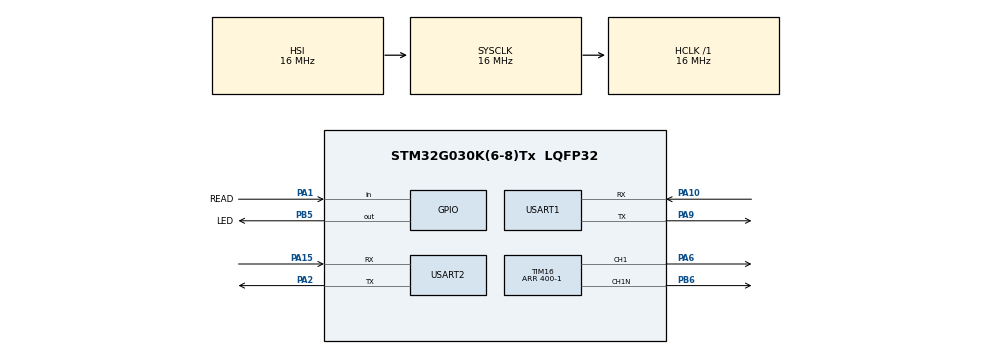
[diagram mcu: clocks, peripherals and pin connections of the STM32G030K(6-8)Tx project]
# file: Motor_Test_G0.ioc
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Dma.Request0=USART1_RX
Dma.Request1=USART2_RX
Dma.USART1_RX.0.Direction=DMA_PERIPH_TO_MEMORY
Dma.USART1_RX.0.EventEnable=DISABLE
Dma.USART1_RX.0.Instance=DMA1_Channel1
Dma.USART1_RX.0.MemDataAlignment=DMA_MDATAALIGN_BYTE
Dma.USART1_RX.0.MemInc=DMA_MINC_ENABLE
Dma.USART1_RX.0.Mode=DMA_CIRCULAR
Dma.USART1_RX.0.PeriphDataAlignment=DMA_PDATAALIGN_BYTE
Dma.USART1_RX.0.PeriphInc=DMA_PINC_DISABLE
Dma.USART1_RX.0.Polarity=HAL_DMAMUX_REQ_GEN_RISING
Dma.USART1_RX.0.Priority=DMA_PRIORITY_HIGH
Dma.USART1_RX.0.RequestNumber=1
Dma.USART1_RX.0.SignalID=NONE
Dma.USART1_RX.0.SyncEnable=DISABLE
Dma.USART1_RX.0.SyncPolarity=HAL_DMAMUX_SYNC_NO_EVENT
Dma.USART1_RX.0.SyncRequestNumber=1
Dma.USART1_RX.0.SyncSignalID=NONE
Dma.USART2_RX.1.Direction=DMA_PERIPH_TO_MEMORY
Dma.USART2_RX.1.EventEnable=DISABLE
Dma.USART2_RX.1.Instance=DMA1_Channel2
Dma.USART2_RX.1.MemDataAlignment=DMA_MDATAALIGN_BYTE
Dma.USART2_RX.1.MemInc=DMA_MINC_ENABLE
Dma.USART2_RX.1.Mode=DMA_CIRCULAR
Dma.USART2_RX.1.PeriphDataAlignment=DMA_PDATAALIGN_BYTE
Dma.USART2_RX.1.PeriphInc=DMA_PINC_DISABLE
Dma.USART2_RX.1.Polarity=HAL_DMAMUX_REQ_GEN_RISING
Dma.USART2_RX.1.Priority=DMA_PRIORITY_VERY_HIGH
Dma.USART2_RX.1.RequestNumber=1
Dma.USART2_RX.1.SignalID=NONE
Dma.USART2_RX.1.SyncEnable=DISABLE
Dma.USART2_RX.1.SyncPolarity=HAL_DMAMUX_SYNC_NO_EVENT
Dma.USART2_RX.1.SyncRequestNumber=1
Dma.USART2_RX.1.SyncSignalID=NONE
Mcu.Family=STM32G0
Mcu.Name=STM32G030K(6-8)Tx
Mcu.Package=LQFP32
NVIC.DMA1_Channel1_IRQn=true\:0\:0\:false\:false\:true\:false\:true\:true
NVIC.DMA1_Channel2_3_IRQn=true\:0\:0\:false\:false\:true\:false\:true\:true
NVIC.TIM3_IRQn=true\:0\:0\:false\:false\:true\:true\:true\:true
PA1.GPIO_Label=READ
PA1.Signal=GPIO_Input
PA10.Mode=Asynchronous
PA10.Signal=USART1_RX
PA15.Mode=Asynchronous
PA15.Signal=USART2_RX
PA2.Mode=Asynchronous
PA2.Signal=USART2_TX
PA6.Signal=S_TIM16_CH1
PA9.Mode=Asynchronous
PA9.Signal=USART1_TX
PB5.GPIO_Label=LED
PB5.Signal=GPIO_Output
PB6.Mode=PWM Generation1 CH1 CH1N
PB6.Signal=TIM16_CH1N
ProjectManager.HeapSize=0x200
ProjectManager.StackSize=0x400
ProjectManager.TargetToolchain=STM32CubeIDE
RCC.AHBFreq_Value=16000000
RCC.CortexFreq_Value=16000000
RCC.EXTERNAL_CLOCK_VALUE=12288000
RCC.HCLKFreq_Value=16000000
RCC.HSE_VALUE=8000000
RCC.HSI_VALUE=16000000
RCC.LSE_VALUE=32768
RCC.SYSCLKFreq_VALUE=16000000
RCC.VCOOutputFreq_Value=128000000
SH.S_TIM16_CH1.0=TIM16_CH1,PWM Generation1 CH1 CH1N
TIM16.Channel=TIM_CHANNEL_1
TIM16.Period=400-1
TIM3.Period=5000-1
TIM3.Prescaler=16000-1
USART1.VirtualMode-Asynchronous=VM_ASYNC
USART2.VirtualMode-Asynchronous=VM_ASYNC
VP_TIM16_VS_ClockSourceINT.Mode=Enable_Timer
VP_TIM3_VS_ClockSourceINT.Mode=Internal
board=custom

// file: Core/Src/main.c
/* USER CODE BEGIN Header */
/**
  ******************************************************************************
  * @file           : main.c
  * @brief          : Main program body
  ******************************************************************************
  * @attention
  *
  * Copyright (c) 2024 STMicroelectronics.
  * All rights reserved.
  *
  * This software is licensed under terms that can be found in the LICENSE file
  * in the root directory of this software component.
  * If no LICENSE file comes with this software, it is provided AS-IS.
  *
  ******************************************************************************
  */
/* USER CODE END Header */
#include "main.h"

TIM_HandleTypeDef htim3;
TIM_HandleTypeDef htim16;

UART_HandleTypeDef huart1;
UART_HandleTypeDef huart2;
DMA_HandleTypeDef hdma_usart1_rx;
DMA_HandleTypeDef hdma_usart2_rx;

/* USER CODE BEGIN PV */
float value = 199;
int output = 199;
int status = 1;
static uint8_t rxBuf[128];
static uint8_t rxBuf2[128];

uint8_t spdBuf[2] = {33, 33};
uint8_t spdBuf2[2] = {33, 33};

int16_t cur_speed = 33;
int16_t goal_speed = 0;
int16_t now;
//int a,b,c = 0;

int index = 0;
int indexRead = 0;
uint8_t readData;

int index2= 0;
int indexRead2 = 0;
uint8_t readData2;

#define MOTOR_ID 2
int j;

/* USER CODE END PV */

void SystemClock_Config(void);
static void MX_GPIO_Init(void);
static void MX_DMA_Init(void);
static void MX_TIM16_Init(void);
static void MX_USART1_UART_Init(void);
static void MX_TIM3_Init(void);
static void MX_USART2_UART_Init(void);

/* USER CODE BEGIN 0 */
void HAL_TIM_PeriodElapsedCallback(TIM_HandleTypeDef *htim)
{
}

/* USER CODE END 0 */

int main(void)
{

  /* MCU Configuration--------------------------------------------------------*/

  /* Reset of all peripherals, Initializes the Flash interface and the Systick. */
  HAL_Init();

  /* Configure the system clock */
  SystemClock_Config();

  /* Initialize all configured peripherals */
  MX_GPIO_Init();
  MX_DMA_Init();
  MX_TIM16_Init();
  MX_USART1_UART_Init();
  MX_TIM3_Init();
  MX_USART2_UART_Init();
  /* USER CODE BEGIN 2 */

  HAL_TIM_PWM_Start(&htim16, TIM_CHANNEL_1);//PWM時に記述
  HAL_TIMEx_PWMN_Start(&htim16, TIM_CHANNEL_1);
  HAL_GPIO_WritePin(LED_GPIO_Port, LED_Pin,  GPIO_PIN_SET);

  HAL_UART_Receive_DMA(&huart1,rxBuf,sizeof(rxBuf));
  HAL_UART_Receive_DMA(&huart2,rxBuf2,sizeof(rxBuf2));
  __HAL_TIM_SET_COMPARE(&htim16, TIM_CHANNEL_1, 199);

  HAL_TIM_Base_Start_IT(&htim3);

  /* USER CODE END 2 */

  /* Infinite loop */
  while (1)
  {

    /* USER CODE BEGIN 3 */

    if(HAL_GPIO_ReadPin(READ_GPIO_Port, READ_Pin)==1){
      if(goal_speed>cur_speed){
    	  value += 0.1;
      }else if(goal_speed<cur_speed){
    	  value -= 0.1;
      }else{
      }
    }else{
      value = 199;
    }

    if(value>=399){value = 395;}
    else if(value<5){value = 0;}

    //------------------------------------------------------

    index2 = huart2.hdmarx->Instance->CNDTR;
    index2 = sizeof(rxBuf2) - index2;
	int begin2 = index2 - 25;
	if(begin2 < 0){
	  begin2 = begin2 + sizeof(rxBuf2);
	}

	while(1){
	  uint8_t rx2 = rxBuf2[begin2];
	  if(rx2 == 250 + MOTOR_ID){
		for(int i=0; i<2; i++){
		  begin2 = begin2 + 1;
		  if(begin2 > 127){
			begin2 = begin2 - sizeof(rxBuf2);
		  }
		  spdBuf2[i]=rxBuf2[begin2];
		  if(spdBuf2[i]>100 || spdBuf2[i]<0){
			  j++;
			  break;
		  }
		}

		goal_speed = 0;
		int hyaku2 = 1;
		for(int i = 0; i <2 ; i++){
		  goal_speed = goal_speed + (spdBuf2[i]*hyaku2);
		  hyaku2 = hyaku2*100;
		}
		goal_speed -= 1000;

		break;
	  }

	  begin2++;

	  if(begin2 > 127){
		  begin2 = begin2 - sizeof(rxBuf2);
	  }
	  if(begin2 == index2){break;}

	}

	HAL_Delay(1);

    //--------------------------------------------------
    index = huart1.hdmarx->Instance->CNDTR;
    index = sizeof(rxBuf) - index;
    int begin = index - 7;
    if(begin < 0){
      begin = begin + sizeof(rxBuf);
    }
    spdBuf[0] = rxBuf[index];

    while(1){
      uint8_t rx = rxBuf[begin];
      if(rx == 250){
//    	  a = begin;
//    	  b = begin + 1;
//    	  if(b>127){b = b - sizeof(rxBuf);}
//    	  c = begin + 2;
//    	  if(c>127){c = c - sizeof(rxBuf);}

        for(int i=0; i<2; i++){
          begin = begin + 1;
          if(begin > 127){
            begin = begin - sizeof(rxBuf);
          }
          spdBuf[i]=rxBuf[begin];
          if(spdBuf[i]>100){
        	  cur_speed = cur_speed;
        	  break;
          }
        }

        cur_speed = 0;
        int hyaku = 1;
        for(int i = 0; i <2 ; i++){
          cur_speed = cur_speed + (spdBuf[i]*hyaku);
          hyaku = hyaku*100;
        }
        cur_speed -= 1000;
//        cur_speed *= -1;

        break;
      }

      begin++;

	  if(begin > 127){
		  begin = begin - sizeof(rxBuf);
	  }
	  if(begin == index){break;}

    }

    output = (int)value;
    output = 400 - output;

	  __HAL_TIM_SET_COMPARE(&htim16, TIM_CHANNEL_1, output);
  }
  /* USER CODE END 3 */
}

void SystemClock_Config(void)
{
  RCC_OscInitTypeDef RCC_OscInitStruct = {0};
  RCC_ClkInitTypeDef RCC_ClkInitStruct = {0};

  /** Configure the main internal regulator output voltage
  */
  HAL_PWREx_ControlVoltageScaling(PWR_REGULATOR_VOLTAGE_SCALE1);

  /** Initializes the RCC Oscillators according to the specified parameters
  * in the RCC_OscInitTypeDef structure.
  */
  RCC_OscInitStruct.OscillatorType = RCC_OSCILLATORTYPE_HSI;
  RCC_OscInitStruct.HSIState = RCC_HSI_ON;
  RCC_OscInitStruct.HSIDiv = RCC_HSI_DIV1;
  RCC_OscInitStruct.HSICalibrationValue = RCC_HSICALIBRATION_DEFAULT;
  RCC_OscInitStruct.PLL.PLLState = RCC_PLL_NONE;
  if (HAL_RCC_OscConfig(&RCC_OscInitStruct) != HAL_OK)
  {
    Error_Handler();
  }

  /** Initializes the CPU, AHB and APB buses clocks
  */
  RCC_ClkInitStruct.ClockType = RCC_CLOCKTYPE_HCLK|RCC_CLOCKTYPE_SYSCLK
                              |RCC_CLOCKTYPE_PCLK1;
  RCC_ClkInitStruct.SYSCLKSource = RCC_SYSCLKSOURCE_HSI;
  RCC_ClkInitStruct.AHBCLKDivider = RCC_SYSCLK_DIV1;
  RCC_ClkInitStruct.APB1CLKDivider = RCC_HCLK_DIV1;

  if (HAL_RCC_ClockConfig(&RCC_ClkInitStruct, FLASH_LATENCY_0) != HAL_OK)
  {
    Error_Handler();
  }
}

static void MX_TIM3_Init(void)
{

  TIM_ClockConfigTypeDef sClockSourceConfig = {0};
  TIM_MasterConfigTypeDef sMasterConfig = {0};

  htim3.Instance = TIM3;
  htim3.Init.Prescaler = 16000-1;
  htim3.Init.CounterMode = TIM_COUNTERMODE_UP;
  htim3.Init.Period = 5000-1;
  htim3.Init.ClockDivision = TIM_CLOCKDIVISION_DIV1;
  htim3.Init.AutoReloadPreload = TIM_AUTORELOAD_PRELOAD_DISABLE;
  if (HAL_TIM_Base_Init(&htim3) != HAL_OK)
  {
    Error_Handler();
  }
  sClockSourceConfig.ClockSource = TIM_CLOCKSOURCE_INTERNAL;
  if (HAL_TIM_ConfigClockSource(&htim3, &sClockSourceConfig) != HAL_OK)
  {
    Error_Handler();
  }
  sMasterConfig.MasterOutputTrigger = TIM_TRGO_RESET;
  sMasterConfig.MasterSlaveMode = TIM_MASTERSLAVEMODE_DISABLE;
  if (HAL_TIMEx_MasterConfigSynchronization(&htim3, &sMasterConfig) != HAL_OK)
  {
    Error_Handler();
  }

}

static void MX_TIM16_Init(void)
{

  TIM_OC_InitTypeDef sConfigOC = {0};
  TIM_BreakDeadTimeConfigTypeDef sBreakDeadTimeConfig = {0};

  htim16.Instance = TIM16;
  htim16.Init.Prescaler = 0;
  htim16.Init.CounterMode = TIM_COUNTERMODE_UP;
  htim16.Init.Period = 400-1;
  htim16.Init.ClockDivision = TIM_CLOCKDIVISION_DIV1;
  htim16.Init.RepetitionCounter = 0;
  htim16.Init.AutoReloadPreload = TIM_AUTORELOAD_PRELOAD_DISABLE;
  if (HAL_TIM_Base_Init(&htim16) != HAL_OK)
  {
    Error_Handler();
  }
  if (HAL_TIM_PWM_Init(&htim16) != HAL_OK)
  {
    Error_Handler();
  }
  sConfigOC.OCMode = TIM_OCMODE_PWM1;
  sConfigOC.Pulse = 0;
  sConfigOC.OCPolarity = TIM_OCPOLARITY_HIGH;
  sConfigOC.OCNPolarity = TIM_OCNPOLARITY_HIGH;
  sConfigOC.OCFastMode = TIM_OCFAST_DISABLE;
  sConfigOC.OCIdleState = TIM_OCIDLESTATE_RESET;
  sConfigOC.OCNIdleState = TIM_OCNIDLESTATE_RESET;
  if (HAL_TIM_PWM_ConfigChannel(&htim16, &sConfigOC, TIM_CHANNEL_1) != HAL_OK)
  {
    Error_Handler();
  }
  sBreakDeadTimeConfig.OffStateRunMode = TIM_OSSR_DISABLE;
  sBreakDeadTimeConfig.OffStateIDLEMode = TIM_OSSI_DISABLE;
  sBreakDeadTimeConfig.LockLevel = TIM_LOCKLEVEL_OFF;
  sBreakDeadTimeConfig.DeadTime = 0;
  sBreakDeadTimeConfig.BreakState = TIM_BREAK_DISABLE;
  sBreakDeadTimeConfig.BreakPolarity = TIM_BREAKPOLARITY_HIGH;
  sBreakDeadTimeConfig.BreakFilter = 0;
  sBreakDeadTimeConfig.AutomaticOutput = TIM_AUTOMATICOUTPUT_DISABLE;
  if (HAL_TIMEx_ConfigBreakDeadTime(&htim16, &sBreakDeadTimeConfig) != HAL_OK)
  {
    Error_Handler();
  }
  HAL_TIM_MspPostInit(&htim16);

}

static void MX_USART1_UART_Init(void)
{

  huart1.Instance = USART1;
  huart1.Init.BaudRate = 115200;
  huart1.Init.WordLength = UART_WORDLENGTH_8B;
  huart1.Init.StopBits = UART_STOPBITS_1;
  huart1.Init.Parity = UART_PARITY_NONE;
  huart1.Init.Mode = UART_MODE_TX_RX;
  huart1.Init.HwFlowCtl = UART_HWCONTROL_NONE;
  huart1.Init.OverSampling = UART_OVERSAMPLING_16;
  huart1.Init.OneBitSampling = UART_ONE_BIT_SAMPLE_DISABLE;
  huart1.Init.ClockPrescaler = UART_PRESCALER_DIV1;
  huart1.AdvancedInit.AdvFeatureInit = UART_ADVFEATURE_NO_INIT;
  if (HAL_UART_Init(&huart1) != HAL_OK)
  {
    Error_Handler();
  }
  if (HAL_UARTEx_SetTxFifoThreshold(&huart1, UART_TXFIFO_THRESHOLD_1_8) != HAL_OK)
  {
    Error_Handler();
  }
  if (HAL_UARTEx_SetRxFifoThreshold(&huart1, UART_RXFIFO_THRESHOLD_1_8) != HAL_OK)
  {
    Error_Handler();
  }
  if (HAL_UARTEx_DisableFifoMode(&huart1) != HAL_OK)
  {
    Error_Handler();
  }

}

static void MX_USART2_UART_Init(void)
{

  huart2.Instance = USART2;
  huart2.Init.BaudRate = 115200;
  huart2.Init.WordLength = UART_WORDLENGTH_8B;
  huart2.Init.StopBits = UART_STOPBITS_1;
  huart2.Init.Parity = UART_PARITY_NONE;
  huart2.Init.Mode = UART_MODE_TX_RX;
  huart2.Init.HwFlowCtl = UART_HWCONTROL_NONE;
  huart2.Init.OverSampling = UART_OVERSAMPLING_16;
  huart2.Init.OneBitSampling = UART_ONE_BIT_SAMPLE_DISABLE;
  huart2.Init.ClockPrescaler = UART_PRESCALER_DIV1;
  huart2.AdvancedInit.AdvFeatureInit = UART_ADVFEATURE_NO_INIT;
  if (HAL_UART_Init(&huart2) != HAL_OK)
  {
    Error_Handler();
  }

}

static void MX_DMA_Init(void)
{

  /* DMA controller clock enable */
  __HAL_RCC_DMA1_CLK_ENABLE();

  /* DMA interrupt init */
  /* DMA1_Channel1_IRQn interrupt configuration */
  HAL_NVIC_SetPriority(DMA1_Channel1_IRQn, 0, 0);
  HAL_NVIC_EnableIRQ(DMA1_Channel1_IRQn);
  /* DMA1_Channel2_3_IRQn interrupt configuration */
  HAL_NVIC_SetPriority(DMA1_Channel2_3_IRQn, 0, 0);
  HAL_NVIC_EnableIRQ(DMA1_Channel2_3_IRQn);

}

static void MX_GPIO_Init(void)
{
  GPIO_InitTypeDef GPIO_InitStruct = {0};

  /* GPIO Ports Clock Enable */
  __HAL_RCC_GPIOA_CLK_ENABLE();
  __HAL_RCC_GPIOB_CLK_ENABLE();

  /*Configure GPIO pin Output Level */
  HAL_GPIO_WritePin(LED_GPIO_Port, LED_Pin, GPIO_PIN_RESET);

  /*Configure GPIO pin : READ_Pin */
  GPIO_InitStruct.Pin = READ_Pin;
  GPIO_InitStruct.Mode = GPIO_MODE_INPUT;
  GPIO_InitStruct.Pull = GPIO_NOPULL;
  HAL_GPIO_Init(READ_GPIO_Port, &GPIO_InitStruct);

  /*Configure GPIO pin : LED_Pin */
  GPIO_InitStruct.Pin = LED_Pin;
  GPIO_InitStruct.Mode = GPIO_MODE_OUTPUT_PP;
  GPIO_InitStruct.Pull = GPIO_NOPULL;
  GPIO_InitStruct.Speed = GPIO_SPEED_FREQ_LOW;
  HAL_GPIO_Init(LED_GPIO_Port, &GPIO_InitStruct);

}

void Error_Handler(void)
{
  __disable_irq();
  while (1)
  {
  }
}
